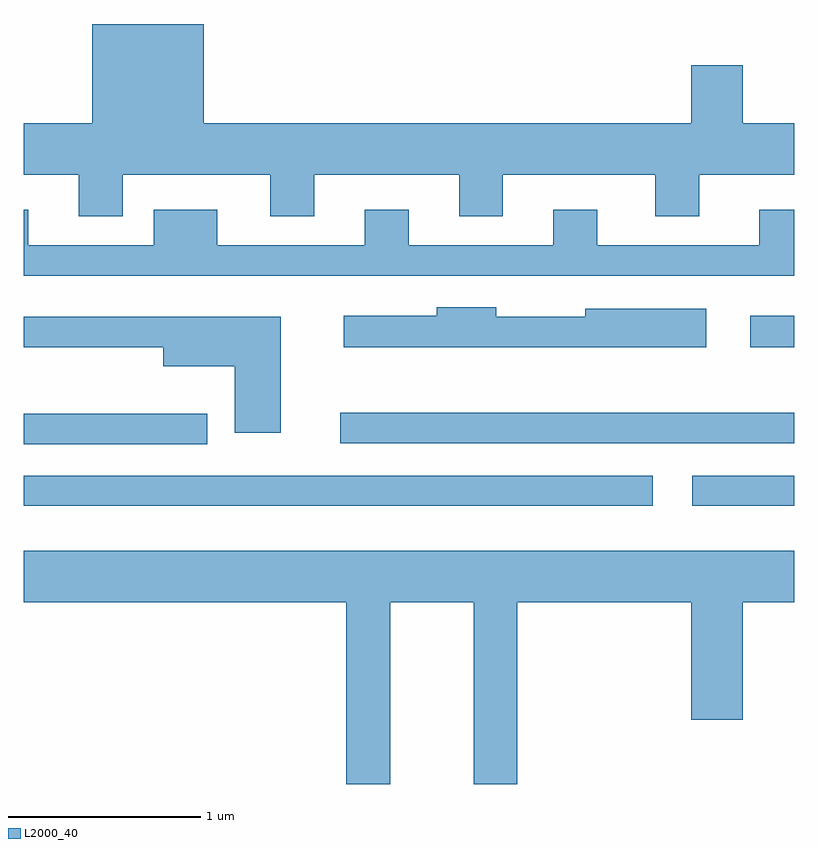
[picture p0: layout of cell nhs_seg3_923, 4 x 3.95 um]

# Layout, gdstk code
import gdstk
lib = gdstk.Library(unit=1e-6, precision=1e-09)
def R(c, l, rs):  # rectangles x0, y0, x1, y1
    for r in rs: c.add(gdstk.rectangle(r[:2], r[2:], *l))
def P(c, l, *ps):  # polygons
    for p in ps: c.add(gdstk.Polygon(p, *l))
L2000_40 = (2000, 40)

nhs_seg3_923 = lib.new_cell('nhs_seg3_923')
R(nhs_seg3_923, L2000_40, [(211.611,1195.336,214.878,1195.494), (215.083,1195.336,215.611,1195.494), (211.611,1195.656,212.563,1195.814), (213.253,1195.661,215.611,1195.819), (215.383,1196.161,215.611,1196.324)])
P(nhs_seg3_923, L2000_40, [(212.124,1197.056),(212.891,1197.056),(212.891,1196.841),(213.119,1196.841),(213.119,1197.056),(213.871,1197.056),(213.871,1196.841),(214.099,1196.841),(214.099,1197.056),(214.891,1197.056),(214.891,1196.841),(215.119,1196.841),(215.119,1197.056),(215.611,1197.056),(215.611,1197.324),(215.344,1197.324),(215.344,1197.624),(215.076,1197.624),(215.076,1197.324),(212.544,1197.324),(212.544,1197.839),(211.966,1197.839),(211.966,1197.324),(211.611,1197.324),(211.611,1197.056),(211.896,1197.056),(211.896,1196.841),(212.124,1196.841)],
  [(215.611,1196.874),(215.431,1196.874),(215.431,1196.689),(214.589,1196.689),(214.589,1196.874),(214.361,1196.874),(214.361,1196.689),(213.609,1196.689),(213.609,1196.874),(213.381,1196.874),(213.381,1196.689),(212.614,1196.689),(212.614,1196.874),(212.286,1196.874),(212.286,1196.689),(211.634,1196.689),(211.634,1196.874),(211.611,1196.874),(211.611,1196.531),(215.611,1196.531)],
  [(215.154,1196.359),(214.526,1196.359),(214.526,1196.319),(214.064,1196.319),(214.064,1196.369),(213.756,1196.369),(213.756,1196.324),(213.273,1196.324),(213.273,1196.161),(215.154,1196.161)],
  [(212.944,1196.319),(211.611,1196.319),(211.611,1196.161),(212.336,1196.161),(212.336,1196.061),(212.706,1196.061),(212.706,1195.716),(212.944,1195.716)],
  [(213.514,1194.836),(213.946,1194.836),(213.946,1193.892),(214.174,1193.892),(214.174,1194.836),(215.076,1194.836),(215.076,1194.226),(215.344,1194.226),(215.344,1194.836),(215.611,1194.836),(215.611,1195.104),(211.611,1195.104),(211.611,1194.836),(213.286,1194.836),(213.286,1193.892),(213.514,1193.892)])

lib.write_gds('nhs_seg3_923.gds')
